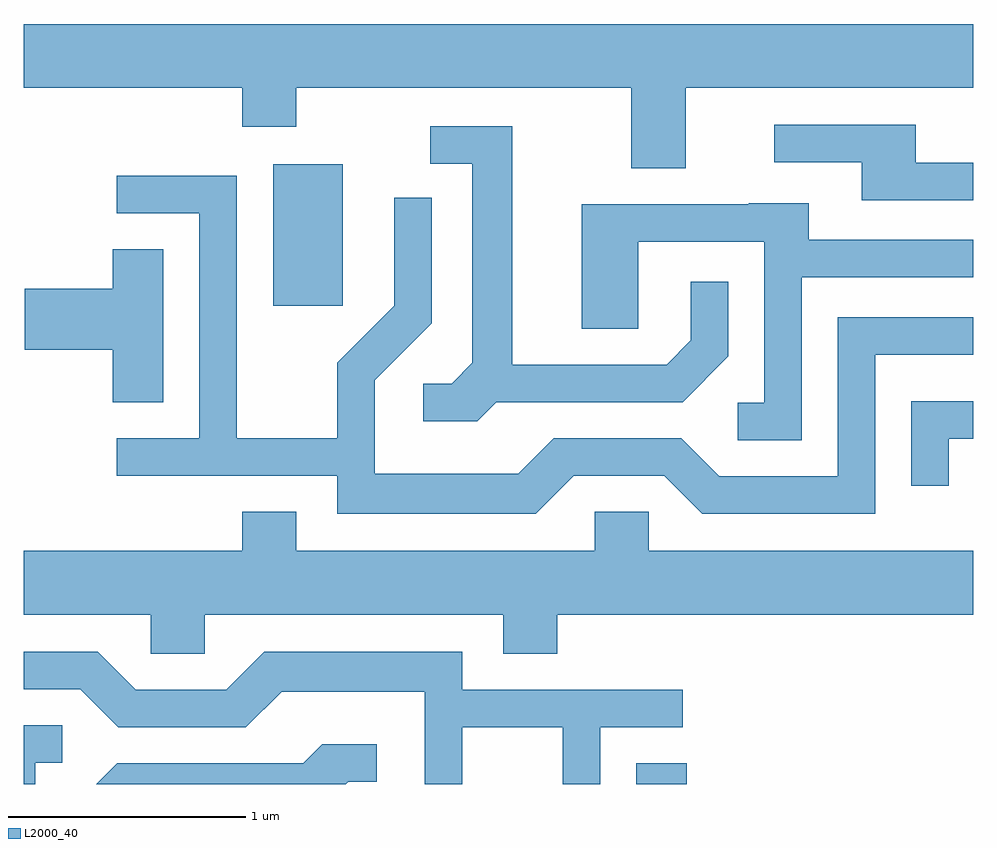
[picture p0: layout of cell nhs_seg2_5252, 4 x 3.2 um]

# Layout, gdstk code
import gdstk
lib = gdstk.Library(unit=1e-6, precision=1e-09)
def R(c, l, rs):  # rectangles x0, y0, x1, y1
    for r in rs: c.add(gdstk.rectangle(r[:2], r[2:], *l))
def P(c, l, *ps):  # polygons
    for p in ps: c.add(gdstk.Polygon(p, *l))
L2000_40 = (2000, 40)

nhs_seg2_5252 = lib.new_cell('nhs_seg2_5252')
R(nhs_seg2_5252, L2000_40, [(342.191,1069.802,342.404,1069.889), (340.661,1071.816,340.954,1072.414)])
P(nhs_seg2_5252, L2000_40, [(342.399,1072.736),(343.611,1072.736),(343.611,1073.004),(339.611,1073.004),(339.611,1072.736),(340.531,1072.736),(340.531,1072.571),(340.759,1072.571),(340.759,1072.736),(342.171,1072.736),(342.171,1072.396),(342.399,1072.396)],
  [(343.611,1072.419),(343.369,1072.419),(343.369,1072.579),(342.773,1072.579),(342.773,1072.421),(343.141,1072.421),(343.141,1072.261),(343.611,1072.261)],
  [(341.602,1071.411),(342.387,1071.411),(342.579,1071.604),(342.579,1071.918),(342.421,1071.918),(342.421,1071.672),(342.319,1071.569),(341.669,1071.569),(341.669,1072.574),(341.323,1072.574),(341.323,1072.416),(341.501,1072.416),(341.501,1071.577),(341.414,1071.489),(341.293,1071.489),(341.293,1071.331),(341.522,1071.331)],
  [(341.927,1071.101),(342.309,1071.101),(342.469,1070.941),(343.199,1070.941),(343.199,1071.611),(343.611,1071.611),(343.611,1071.769),(343.041,1071.769),(343.041,1071.099),(342.542,1071.099),(342.382,1071.259),(341.844,1071.259),(341.694,1071.109),(341.089,1071.109),(341.089,1071.504),(341.329,1071.744),(341.329,1072.273),(341.171,1072.273),(341.171,1071.817),(340.931,1071.577),(340.931,1071.259),(340.509,1071.259),(340.509,1072.364),(340.003,1072.364),(340.003,1072.206),(340.351,1072.206),(340.351,1071.259),(340.003,1071.259),(340.003,1071.101),(340.931,1071.101),(340.931,1070.941),(341.767,1070.941)],
  [(342.889,1071.936),(343.611,1071.936),(343.611,1072.094),(342.919,1072.094),(342.919,1072.249),(342.665,1072.249),(342.665,1072.244),(341.961,1072.244),(341.961,1071.721),(342.199,1071.721),(342.199,1072.086),(342.731,1072.086),(342.731,1071.409),(342.618,1071.409),(342.618,1071.251),(342.889,1071.251)],
  [(340.199,1072.054),(339.986,1072.054),(339.986,1071.889),(339.616,1071.889),(339.616,1071.631),(339.986,1071.631),(339.986,1071.411),(340.199,1071.411)],
  [(343.509,1071.256),(343.611,1071.256),(343.611,1071.414),(343.351,1071.414),(343.351,1071.058),(343.509,1071.058)],
  [(340.374,1070.516),(341.631,1070.516),(341.631,1070.351),(341.859,1070.351),(341.859,1070.516),(343.611,1070.516),(343.611,1070.784),(342.244,1070.784),(342.244,1070.949),(342.016,1070.949),(342.016,1070.784),(340.759,1070.784),(340.759,1070.949),(340.531,1070.949),(340.531,1070.784),(339.611,1070.784),(339.611,1070.516),(340.146,1070.516),(340.146,1070.351),(340.374,1070.351)],
  [(341.459,1070.041),(341.881,1070.041),(341.881,1069.802),(342.039,1069.802),(342.039,1070.041),(342.388,1070.041),(342.388,1070.199),(341.459,1070.199),(341.459,1070.359),(340.624,1070.359),(340.464,1070.199),(340.082,1070.199),(339.922,1070.359),(339.611,1070.359),(339.611,1070.201),(339.849,1070.201),(340.009,1070.041),(340.547,1070.041),(340.697,1070.191),(341.301,1070.191),(341.301,1069.802),(341.459,1069.802)],
  [(339.659,1069.891),(339.773,1069.891),(339.773,1070.049),(339.611,1070.049),(339.611,1069.802),(339.659,1069.802)],
  [(340.977,1069.811),(341.098,1069.811),(341.098,1069.969),(340.869,1069.969),(340.789,1069.889),(340.004,1069.889),(339.917,1069.802),(340.968,1069.802)])

lib.write_gds('nhs_seg2_5252.gds')
